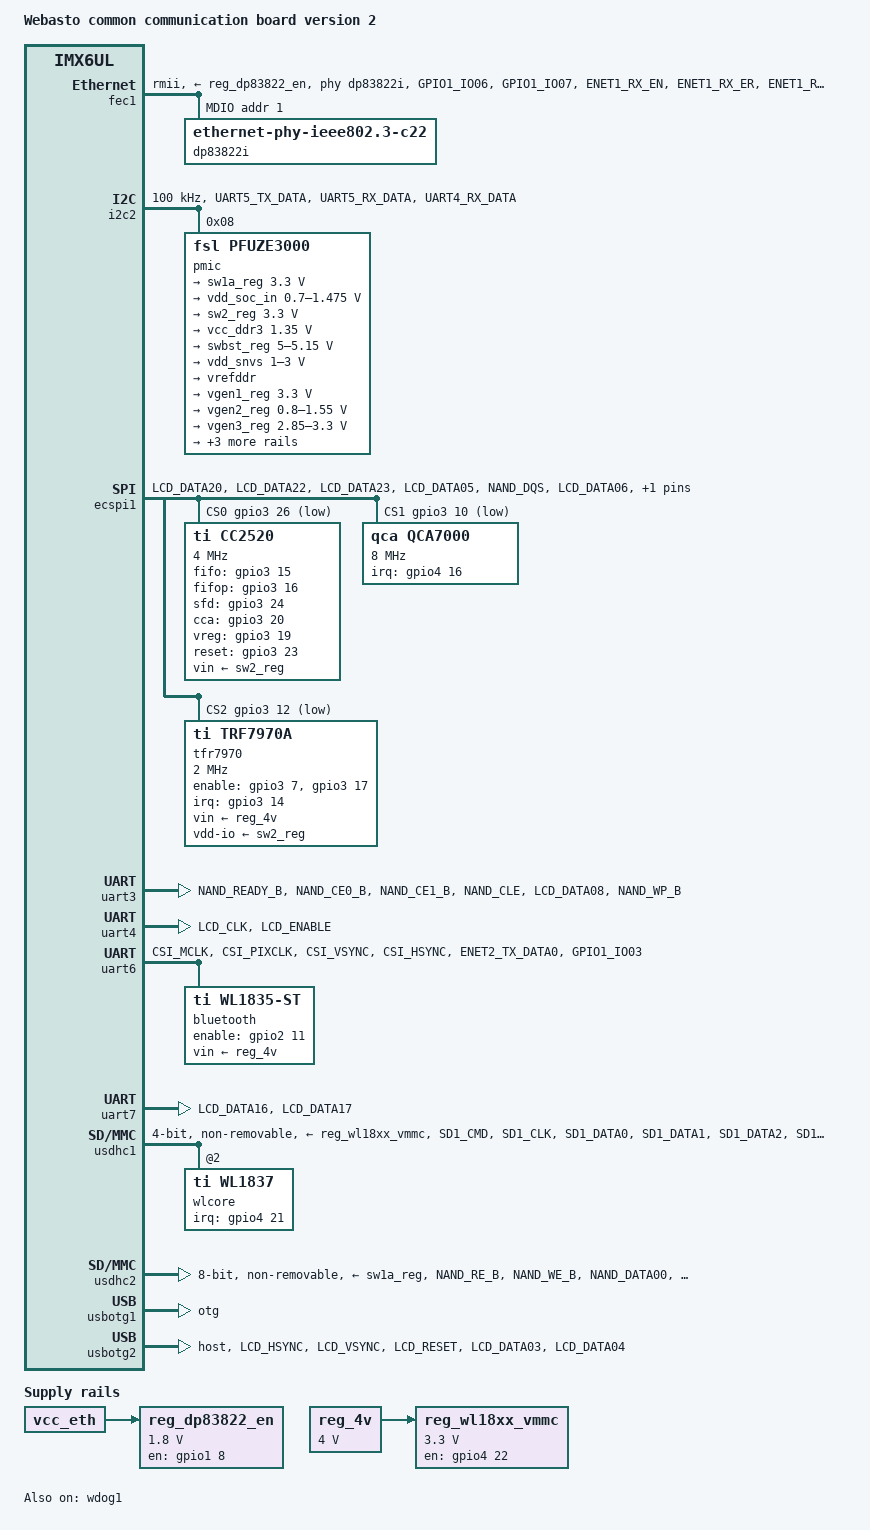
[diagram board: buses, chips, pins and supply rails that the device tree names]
// SPDX-License-Identifier: (GPL-2.0 OR MIT)
//
// Copyright (C) 2019, Webasto SE
//
// Author: Johannes Eigner <johannes.eigner@webasto.com>

/dts-v1/;

#include <arm/imx6ul.dtsi>

/ {
	model = "Webasto common communication board version 2";
	compatible = "webasto,imx6ul-ccbv2", "fsl,imx6ul";

	chosen {
		stdout-path = &uart7;
	};

	reg_4v: regulator-4v {
		compatible = "regulator-fixed";
		regulator-name = "V_+4V";
		regulator-min-microvolt = <4000000>;
		regulator-max-microvolt = <4000000>;
		regulator-boot-on;
		regulator-always-on;
	};

	reg_wl18xx_vmmc: regulator-wl18xx {
		compatible = "regulator-fixed";
		regulator-name = "wl1837";
		vin-supply = <&reg_4v>;
		regulator-min-microvolt = <3300000>;
		regulator-max-microvolt = <3300000>;
		gpio = <&gpio4 22 GPIO_ACTIVE_HIGH>;
		startup-delay-us = <70000>;
		enable-active-high;
	};

	reg_dp83822_en: regulator-dp83822 {
		compatible = "regulator-fixed";
		regulator-name = "dp83822";
		vin-supply = <&vcc_eth>;
		regulator-min-microvolt = <1800000>;
		regulator-max-microvolt = <1800000>;
		gpio = <&gpio1 8 GPIO_ACTIVE_HIGH>;
		enable-active-high;
	};
};

&fec1 {
	pinctrl-names = "default";
	pinctrl-0 = <&pinctrl_enet1>;
	phy-mode = "rmii";
	phy-supply = <&reg_dp83822_en>;
	phy-handle = <&dp83822i>;
	phy-reset-gpios = <&gpio1 9 GPIO_ACTIVE_LOW>;
	status = "okay";

	mdio {
		#address-cells = <1>;
		#size-cells = <0>;

		dp83822i: ethernet-phy@1 {
			compatible = "ethernet-phy-ieee802.3-c22";
			reg = <1>;
			clocks = <&clks IMX6UL_CLK_ENET_REF>;
			clock-names = "rmii-ref";
		};
	};
};

&i2c2 {
	pinctrl-names = "default";
	pinctrl-0 = <&pinctrl_i2c2>;
	clock-frequency = <100000>;
	status = "okay";

	pmic: mc34pf3000@8 {
		compatible = "fsl,pfuze3000";
		reg = <0x08>;
		regulators {
			sw1a_reg: sw1a {
				regulator-name = "V_+3V3_SW1A";
				vin-supply = <&reg_4v>;
				regulator-min-microvolt = <3300000>;
				regulator-max-microvolt = <3300000>;
				regulator-boot-on;
				regulator-always-on;
				regulator-ramp-delay = <6250>;
			};
			vdd_soc_in: sw1b {
				regulator-name = "V_+1V4_SW1B";
				vin-supply = <&reg_4v>;
				regulator-min-microvolt = <700000>;
				regulator-max-microvolt = <1475000>;
				regulator-ramp-delay = <6250>;
				regulator-boot-on;
				regulator-always-on;
			};
			sw2_reg: sw2 {
				regulator-name = "V_+3V3_SW2";
				vin-supply = <&reg_4v>;
				regulator-min-microvolt = <3300000>;
				regulator-max-microvolt = <3300000>;
				regulator-boot-on;
				regulator-always-on;
			};
			vcc_ddr3: sw3 {
				regulator-name = "V_+1V35_SW3";
				vin-supply = <&reg_4v>;
				regulator-min-microvolt = <1350000>;
				regulator-max-microvolt = <1350000>;
				regulator-boot-on;
				regulator-always-on;
			};
			swbst_reg: swbst {
				regulator-name = "V_+5V0_SWBST";
				vin-supply = <&reg_4v>;
				regulator-min-microvolt = <5000000>;
				regulator-max-microvolt = <5150000>;
			};
			vdd_snvs: vsnvs {
				regulator-name = "V_+3V0_SNVS";
				vin-supply = <&reg_4v>;
				regulator-min-microvolt = <1000000>;
				regulator-max-microvolt = <3000000>;
				regulator-boot-on;
				regulator-always-on;
			};
			vrefddr: vrefddr {
				regulator-name = "V_+0V675_VREFDDR";
				vin-supply = <&vcc_ddr3>;
				regulator-boot-on;
				regulator-always-on;
			};
			/* 3V3 Supply: i.MX6 modules */
			vgen1_reg: vldo1 {
				regulator-name = "V_+3V3_LDO1";
				vin-supply = <&reg_4v>;
				regulator-min-microvolt = <3300000>;
				regulator-max-microvolt = <3300000>;
				regulator-boot-on;
				regulator-always-on;
			};
			vgen2_reg: vldo2 {
				regulator-min-microvolt = <800000>;
				regulator-max-microvolt = <1550000>;
			};
			vgen3_reg: vccsd {
				regulator-min-microvolt = <2850000>;
				regulator-max-microvolt = <3300000>;
			};
			vdd_high_in: v33 {
				regulator-name = "V_+3V3_V33";
				vin-supply = <&reg_4v>;
				regulator-min-microvolt = <3300000>;
				regulator-max-microvolt = <3300000>;
				regulator-boot-on;
				regulator-always-on;
			};
			vcc_eth: vldo3 {
				regulator-name = "V_+1V8_LDO3";
				vin-supply = <&reg_4v>;
				regulator-min-microvolt = <1800000>;
				regulator-max-microvolt = <1800000>;
				regulator-boot-on;
				regulator-always-on;
			};
			vgen6_reg: vldo4 {
				regulator-name = "V_+1V8_LDO4";
				vin-supply = <&reg_4v>;
				regulator-min-microvolt = <1800000>;
				regulator-max-microvolt = <1800000>;
				regulator-boot-on;
				regulator-always-on;
			};
		};
	};
};

&ecspi1 {
	pinctrl-names = "default";
	pinctrl-0 = <&pinctrl_spi1>;
	cs-gpios = <
		&gpio3 26 GPIO_ACTIVE_LOW
		&gpio3 10 GPIO_ACTIVE_LOW
		&gpio3 12 GPIO_ACTIVE_LOW
	>;
	status = "okay";

	cc2520: spi@0 {
		pinctrl-names = "default";
		pinctrl-0 = <&pinctrl_cc2520>;
		compatible = "ti,cc2520";
		reg = <0>;
		spi-max-frequency = <4000000>;
		fifo-gpio = <&gpio3 15 0>;
		fifop-gpio = <&gpio3 16 0>;
		sfd-gpio = <&gpio3 24 0>;
		cca-gpio = <&gpio3 20 0>;
		vreg-gpio = <&gpio3 19 0>;
		reset-gpio = <&gpio3 23 0>;
		vin-supply = <&sw2_reg>;
	};
	qca7000: spi@1 {
		compatible = "qca,qca7000";
		reg = <1>;
		spi-max-frequency = <8000000>;
		interrupt-parent = <&gpio4>;
		interrupts = <16 0x1>;
		spi-cpha;
		spi-cpol;
	};
	tfr7970: spi@2 {
		compatible = "ti,trf7970a";
		reg = <2>;
		spi-max-frequency = <2000000>;
		pinctrl-names = "default";
		pinctrl-0 = <&pinctrl_trf7970>;
		interrupt-parent = <&gpio3>;
		interrupts = <14 0>;
		ti,enable-gpios = <&gpio3 7 GPIO_ACTIVE_HIGH>, <&gpio3 17 GPIO_ACTIVE_HIGH>;
		vin-supply = <&reg_4v>;
		vdd-io-supply = <&sw2_reg>;
		autosuspend-delay = <30000>;
		clock-frequency = <27120000>;
	};
};

&uart3 {
	pinctrl-names = "default";
	pinctrl-0 = <&pinctrl_uart3>;
	uart-has-rtscts;
	status = "okay";
};

&uart4 {
	pinctrl-names = "default";
	pinctrl-0 = <&pinctrl_uart4>;
	status = "okay";
};

&uart6 {
	pinctrl-names = "default";
	pinctrl-0 = <&pinctrl_uart6>;
	uart-has-rtscts;
	status = "okay";
	bluetooth {
		compatible = "ti,wl1835-st";
		enable-gpios = <&gpio2 11 GPIO_ACTIVE_HIGH>;
		vin-supply = <&reg_4v>;
	};
};

&uart7 {
	pinctrl-names = "default";
	pinctrl-0 = <&pinctrl_uart7>;
	status = "okay";
};

&usdhc1 {
	pinctrl-names = "default";
	pinctrl-0 = <&pinctrl_usdhc1>;
	bus-width = <4>;
	vmmc-supply = <&reg_wl18xx_vmmc>;
	non-removable;
	keep-power-in-suspend;
	cap-power-off-card;
	max-frequency = <25000000>;
	#address-cells = <1>;
	#size-cells = <0>;
	status = "okay";

	wlcore: wlcore@2 {
		compatible = "ti,wl1837";
		reg = <2>;
		interrupt-parent = <&gpio4>;
		interrupts = <21 IRQ_TYPE_LEVEL_HIGH>;
		tcxo-clock-frequency = <26000000>;
	};
};

&usdhc2 {
	pinctrl-names = "default";
	pinctrl-0 = <&pinctrl_usdhc2>;
	bus-width = <8>;
	vmmc-supply = <&sw1a_reg>;
	no-1-8-v;
	non-removable;
	no-sd;
	no-sdio;
	keep-power-in-suspend;
	status = "okay";
};

&usbotg1 {
	dr_mode = "otg";
	status = "okay";
};

&usbotg2 {
	dr_mode = "host";
	disable-over-current;
	pinctrl-names = "default";
	pinctrl-0 = <&pinctrl_minipcie>;
	status = "okay";
};

&wdog1 {
	pinctrl-names = "default";
	pinctrl-0 = <&pinctrl_wdog>;
	fsl,ext-reset-output;
	status = "okay";
};

&reg_arm {
	vin-supply = <&vdd_soc_in>;
	regulator-allow-bypass;
};

&reg_soc {
	vin-supply = <&vdd_soc_in>;
	regulator-allow-bypass;
};

&iomuxc {
	pinctrl-names = "default";

	pinctrl_enet1: enet1grp {
		fsl,pins = <
			MX6UL_PAD_GPIO1_IO06__ENET1_MDIO	0x1b0b0
			MX6UL_PAD_GPIO1_IO07__ENET1_MDC		0x1b0b0
			MX6UL_PAD_ENET1_RX_EN__ENET1_RX_EN	0x1b0b0
			MX6UL_PAD_ENET1_RX_ER__ENET1_RX_ER	0x1b0b0
			MX6UL_PAD_ENET1_RX_DATA0__ENET1_RDATA00	0x1b0b0
			MX6UL_PAD_ENET1_RX_DATA1__ENET1_RDATA01	0x1b0b0
			MX6UL_PAD_ENET1_TX_EN__ENET1_TX_EN	0x1b0b0
			MX6UL_PAD_ENET1_TX_DATA0__ENET1_TDATA00	0x1b0b0
			MX6UL_PAD_ENET1_TX_DATA1__ENET1_TDATA01	0x1b0b0
			MX6UL_PAD_ENET1_TX_CLK__ENET1_REF_CLK1	0x4001b031
			MX6UL_PAD_GPIO1_IO08__GPIO1_IO08	0x13030
			MX6UL_PAD_GPIO1_IO09__GPIO1_IO09	0x13030
		>;
	};

	pinctrl_i2c2: i2c2grp {
		fsl,pins = <
			MX6UL_PAD_UART5_TX_DATA__I2C2_SCL   0x4001b8b0
			MX6UL_PAD_UART5_RX_DATA__I2C2_SDA   0x4001b8b0
			MX6UL_PAD_UART4_RX_DATA__GPIO1_IO29 0x10000
		>;
	};

	pinctrl_minipcie: minipciegrp {
		fsl,pins = <
			/* HYS=1, 100k PullDown, 50MHz, R0/6 */
			MX6UL_PAD_LCD_HSYNC__GPIO3_IO02   0x13030
			MX6UL_PAD_LCD_VSYNC__GPIO3_IO03   0x13030
			MX6UL_PAD_LCD_RESET__GPIO3_IO04   0x13030
			MX6UL_PAD_LCD_DATA03__GPIO3_IO08  0x13030
			MX6UL_PAD_LCD_DATA04__GPIO3_IO09  0x13030
		>;
	};

	pinctrl_spi1: spi1grp {
		fsl,pins = <
			MX6UL_PAD_LCD_DATA20__ECSPI1_SCLK 0x1b0b0
			MX6UL_PAD_LCD_DATA22__ECSPI1_MOSI 0x1b0b0
			MX6UL_PAD_LCD_DATA23__ECSPI1_MISO 0x1b0b0
			MX6UL_PAD_LCD_DATA05__GPIO3_IO10  0x17030
			MX6UL_PAD_NAND_DQS__GPIO4_IO16    0x17030
			MX6UL_PAD_LCD_DATA06__GPIO3_IO11  0x17030
			MX6UL_PAD_LCD_DATA13__GPIO3_IO18  0x10030
		>;
	};

	pinctrl_cc2520: cc2520grp {
		fsl,pins = <
			MX6UL_PAD_LCD_DATA10__GPIO3_IO15  0x13030
			MX6UL_PAD_LCD_DATA11__GPIO3_IO16  0x13030
			MX6UL_PAD_LCD_DATA14__GPIO3_IO19  0x13030
			MX6UL_PAD_LCD_DATA15__GPIO3_IO20  0x13030
			MX6UL_PAD_LCD_DATA18__GPIO3_IO23  0x13030
			MX6UL_PAD_LCD_DATA19__GPIO3_IO24  0x13030
			MX6UL_PAD_LCD_DATA21__GPIO3_IO26  0x17030

		>;
	};

	pinctrl_trf7970: trf7970grp {
		fsl,pins = <
			MX6UL_PAD_LCD_DATA07__GPIO3_IO12  0x17030
			MX6UL_PAD_LCD_DATA02__GPIO3_IO07  0x10030
			MX6UL_PAD_LCD_DATA12__GPIO3_IO17  0x10030
			MX6UL_PAD_LCD_DATA09__GPIO3_IO14  0x17000
		>;
	};

	pinctrl_uart3: uart3grp {
		fsl,pins = <
			MX6UL_PAD_NAND_READY_B__UART3_DCE_TX  0x1b0b0
			MX6UL_PAD_NAND_CE0_B__UART3_DCE_RX    0x1b0b0
			MX6UL_PAD_NAND_CE1_B__UART3_DCE_CTS   0x1b0b0
			MX6UL_PAD_NAND_CLE__UART3_DCE_RTS     0x1b0b0
			MX6UL_PAD_LCD_DATA08__GPIO3_IO13      0x13030
			MX6UL_PAD_NAND_WP_B__GPIO4_IO11       0x13030
		>;
	};

	pinctrl_uart4: uart4grp {
		fsl,pins = <
			MX6UL_PAD_LCD_CLK__UART4_DCE_TX	      0x1b0b0
			MX6UL_PAD_LCD_ENABLE__UART4_DCE_RX    0x1b0b0
		>;
	};

	pinctrl_uart6: uart6grp {
		fsl,pins = <
			MX6UL_PAD_CSI_MCLK__UART6_DCE_TX      0x1b0b0
			MX6UL_PAD_CSI_PIXCLK__UART6_DCE_RX    0x1b0b0
			MX6UL_PAD_CSI_VSYNC__UART6_DCE_RTS    0x1b0b0
			MX6UL_PAD_CSI_HSYNC__UART6_DCE_CTS    0x1b0b0
			MX6UL_PAD_ENET2_TX_DATA0__GPIO2_IO11  0x10030
			MX6UL_PAD_GPIO1_IO03__OSC32K_32K_OUT  0x00010
		>;
	};

	pinctrl_uart7: uart7grp {
		fsl,pins = <
			MX6UL_PAD_LCD_DATA16__UART7_DCE_TX    0x1b0b0
			MX6UL_PAD_LCD_DATA17__UART7_DCE_RX    0x1b0b0
		>;
	};

	pinctrl_usdhc1: usdhc1grp {
		fsl,pins = <
			MX6UL_PAD_SD1_CMD__USDHC1_CMD        0x10059
			MX6UL_PAD_SD1_CLK__USDHC1_CLK        0x10059
			MX6UL_PAD_SD1_DATA0__USDHC1_DATA0    0x10059
			MX6UL_PAD_SD1_DATA1__USDHC1_DATA1    0x10059
			MX6UL_PAD_SD1_DATA2__USDHC1_DATA2    0x10059
			MX6UL_PAD_SD1_DATA3__USDHC1_DATA3    0x10059
			MX6UL_PAD_CSI_DATA00__GPIO4_IO21     0x17000
			MX6UL_PAD_CSI_DATA01__GPIO4_IO22     0x10030
		>;
	};

	pinctrl_usdhc2: usdhc2grp {
		fsl,pins = <
			MX6UL_PAD_NAND_RE_B__USDHC2_CLK      0x100e9
			MX6UL_PAD_NAND_WE_B__USDHC2_CMD      0x100e9
			MX6UL_PAD_NAND_DATA00__USDHC2_DATA0  0x100e9
			MX6UL_PAD_NAND_DATA01__USDHC2_DATA1  0x100e9
			MX6UL_PAD_NAND_DATA02__USDHC2_DATA2  0x100e9
			MX6UL_PAD_NAND_DATA03__USDHC2_DATA3  0x100e9
			MX6UL_PAD_NAND_DATA04__USDHC2_DATA4  0x100e9
			MX6UL_PAD_NAND_DATA05__USDHC2_DATA5  0x100e9
			MX6UL_PAD_NAND_DATA06__USDHC2_DATA6  0x100e9
			MX6UL_PAD_NAND_DATA07__USDHC2_DATA7  0x100e9
			MX6UL_PAD_NAND_ALE__GPIO4_IO10       0x10030
		>;
	};

	pinctrl_wdog: wdoggrp {
		fsl,pins = <
			MX6UL_PAD_GPIO1_IO01__WDOG1_WDOG_B	0x00b0
		>;
	};
};
